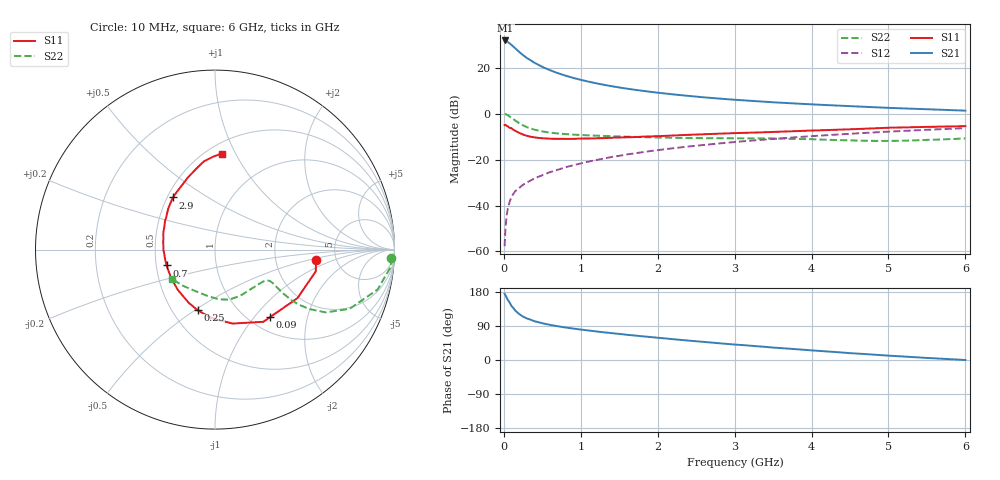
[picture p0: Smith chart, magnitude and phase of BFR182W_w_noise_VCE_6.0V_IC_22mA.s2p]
! Infineon Technologies  Discrete & RF Semiconductors
! BFR182W
! VCE =  6.0 V,  IC =  22 mA
! Common Emitter S-Parameters:  Jan 2017
# GHz  S  MA  R  50
!  f  S11  S21  S12  S22
! GHz  MAG  ANG  MAG  ANG  MAG  ANG  MAG  ANG
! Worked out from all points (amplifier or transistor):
!   77 points, 10 MHz to 6 GHz, reference 50 ohm
!   highest |S21| = 31.9 dB at 20 MHz (marker M1)
!   |S21| within 3 dB of that: start of sweep to 134.4 MHz
!   unconditionally stable (mu >= 1): 819.8 MHz to 2.336 GHz
!   at 130 MHz: K = 0.44, MSG = 31.8 dB, |S12| = -34.6 dB
!   at 2.2 GHz: K = 1.01, MAG = 11.2 dB, |S12| = -15.1 dB
!   at 6 GHz: K = 0.86, MSG = 3.8 dB, |S12| = -6.3 dB
!   lowest NFmin = 1.47 dB at 450 MHz
!   S11 on the Smith chart (normalised r, x): 10 MHz: 3.49, -0.61; 90 MHz: 1.23, -1.21; 250 MHz: 0.67, -0.51; 700 MHz: 0.57, -0.11; 2.9 GHz: 0.54, +0.36; 6 GHz: 0.59, +0.88
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0.01  0.5658 -6.0  39.4 175.0  0.0013 84.4  0.9842 -2.6
0.02  0.5744 -12.2  39.51 171.2  0.0029 85.3  0.9834 -5.7
0.05  0.5333 -30.4  37 159.1  0.0083 79.4  0.9327 -13.8
0.09  0.4856 -50.7  32.54 146.1  0.014 73.4  0.8394 -21.6
0.1  0.4842 -56.2  31.73 142.4  0.0155 72.6  0.8188 -23.8
0.15  0.4235 -76.7  26.47 130.1  0.0207 65.7  0.7082 -29.6
0.2  0.3822 -92.7  22.17 121.2  0.0241 65.8  0.6217 -32.2
0.25  0.3516 -106.0  18.92 114.4  0.0284 64.2  0.558 -33.3
0.3  0.3303 -116.4  16.34 109.6  0.0316 65.5  0.5092 -33.5
0.4  0.3055 -132.7  12.83 102.2  0.039 67.3  0.4482 -32.7
0.5  0.2926 -144.7  10.49 96.9  0.0457 68.3  0.4115 -31.6
0.6  0.2855 -154.5  8.88 92.7  0.0533 69.2  0.3878 -30.8
0.7  0.2837 -161.9  7.672 89.1  0.0601 70.4  0.3715 -30.1
0.9  0.2833 -174.5  6.045 83.0  0.0752 71.1  0.3513 -29.8
1.1  0.2886 176.1  5.007 77.9  0.0905 71.3  0.3384 -30.7
1.5  0.3035 161.4  3.735 68.8  0.121 70.0  0.3194 -34.4
2.1  0.3295 145.0  2.755 56.9  0.169 66.9  0.301 -44.4
2.9  0.3726 128.7  2.077 42.5  0.2335 61.4  0.2922 -61.6
3.1  0.3819 124.9  1.966 39.4  0.2497 59.8  0.2906 -65.7
4.1  0.4352 109.0  1.572 24.0  0.3327 51.2  0.2747 -87.1
5.1  0.4992 96.0  1.324 10.3  0.4146 41.7  0.2566 -118.1
6  0.5367 86.0  1.168 -0.1  0.4847 32.6  0.2898 -145.5
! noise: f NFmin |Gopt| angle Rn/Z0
0.45  1.47  0.13  -172  0.15
0.9  1.55  0.14  -167  0.15
1.9  2.06  0.29  -141  0.17
2.4  2.34  0.31  -127  0.27
